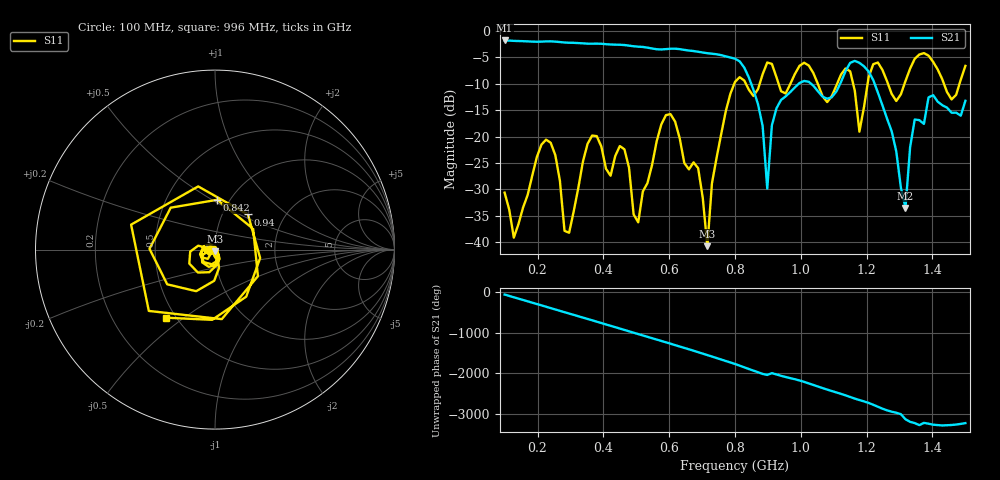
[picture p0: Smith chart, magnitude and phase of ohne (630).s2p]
! NanoVNA-App
! Date: 2025-09-25 14:25:42
! Start: 100MHz Stop: 1,5GHz Points: 101
! S-Parameter data: F S11 S21 S12 S22
# Hz S RI R 50
!  Frequency  S11_Real  S11_Imag  S21_Real  S21_Imag  S12_Real  S12_Imag  S22_Real  S22_Imag
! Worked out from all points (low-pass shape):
!   101 points, 100 MHz to 1.5 GHz, reference 50 ohm
!   highest |S21| = -1.79 dB at 100 MHz (marker M1); lowest = -33.5 dB at 1.318 GHz (marker M2)
!   |S21| within 3 dB of the highest: start of sweep to 771.3 MHz
!   lowest |S11| = -40.8 dB at 716 MHz (marker M3), VSWR 1.02, Z = 49.9 - j0.903 ohm
!   |S11| at or under -10 dB: start of sweep to 797.8 MHz; 833 MHz to 875 MHz (42.04 MHz wide, 4.92 % of centre); 1.052 GHz to 1.11 GHz (58.73 MHz wide, 5.43 % of centre)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
!   S12 and S22 are empty: the file has one direction only
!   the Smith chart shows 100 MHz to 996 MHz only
!   S11 on the Smith chart (normalised r, x): 100 MHz: 0.94, -0.01; 842 MHz: 0.88, +0.53; 940 MHz: 1.32, +0.56; 996 MHz: 0.44, -0.43
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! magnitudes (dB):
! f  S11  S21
! 100 MHz  -30.6  -1.8
! 128 MHz  -39.2  -1.9
! 226 MHz  -20.6  -2.0
! 296 MHz  -38.2  -2.2
! 338 MHz  -24.7  -2.3
! 464 MHz  -22.4  -2.7
! 506 MHz  -36.3  -3.0
! 576 MHz  -17.7  -3.5
! 688 MHz  -26.0  -3.9
! 716 MHz  -40.8  -4.2
! 800 MHz  -9.7  -5.2
! 842 MHz  -11.1  -8.8
! 898 MHz  -6.0  -29.9
! 940 MHz  -11.4  -13.1
! 996 MHz  -6.6  -9.9
! 1.038 GHz  -8.0  -10.4
! 1.178 GHz  -19.1  -6.0
! 1.22 GHz  -6.3  -9.3
! 1.276 GHz  -11.9  -19.0
! 1.318 GHz  -9.5  -33.5
! 1.346 GHz  -5.3  -16.8
! 1.5 GHz  -6.6  -13.2
